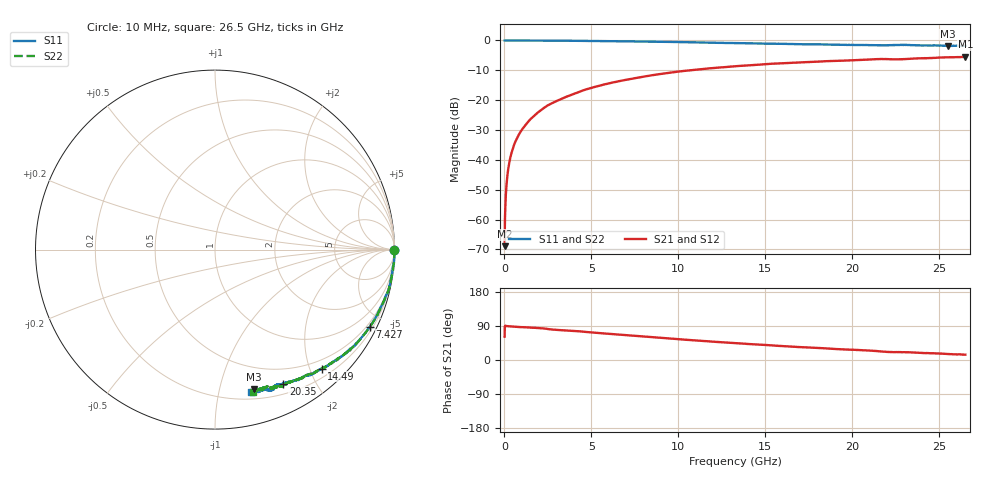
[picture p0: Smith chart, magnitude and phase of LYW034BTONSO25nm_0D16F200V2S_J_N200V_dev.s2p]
!Keysight Technologies,N5222B,MY61253708,A.15.00.15
!Date: Wednesday, June 19, 2024 10:44:11
!Correction: S11(C  2-Port  )
!S21(C  2-Port  )
!S12(C  2-Port  )
!S22(C  2-Port  )
!S2P File: Measurements: S11, S21, S12, S22:
# Hz S  RI  R 50
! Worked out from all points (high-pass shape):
!   2651 points, 10 MHz to 26.5 GHz, reference 50 ohm
!   highest |S21| = -5.47 dB at 26.5 GHz (marker M1); lowest = -68.9 dB at 10 MHz (marker M2)
!   |S21| within 3 dB of the highest: 13.64224 GHz to 13.65733 GHz (15.09 MHz wide, 0.111 % of centre); 13.7 GHz to end of sweep
!   lowest |S11| = -1.9 dB at 25.5 GHz (marker M3), VSWR 9.40, Z = 14.3 - j63.9 ohm
!   |S11| at or under -10 dB: nowhere
!   |S22| runs from -1.8 to 0.0 dB; largest |S21 - S12| = 0.0074
!   S11 on the Smith chart (normalised r, x): 10 MHz: open; 7.427 GHz: 0.35, -4.20; 14.49 GHz: 0.34, -2.20; 20.35 GHz: 0.32, -1.59; 26.5 GHz: 0.26, -1.25
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1e7  0.9983 -0.00311  0.000171 0.000316  -5.88e-05 0.000193  0.9982 -0.00183
7.997358e7  0.9999 -0.00563  -1.36e-05 0.00257  6.39e-06 0.00256  0.9994 -0.00523
1.499472e8  1 -0.0106  4.56e-05 0.00484  3.54e-05 0.00482  0.9996 -0.01
1.899321e8  1 -0.0124  7.67e-05 0.00612  7.9e-05 0.00614  0.9998 -0.0117
2.399132e8  0.9996 -0.0161  0.000122 0.00774  0.000115 0.00776  0.9993 -0.0153
3.398755e8  0.9996 -0.0224  0.000241 0.011  0.00025 0.011  0.9995 -0.0215
4.598302e8  0.9986 -0.0308  0.000419 0.0148  0.000401 0.0148  0.9986 -0.0299
6.197698e8  0.9989 -0.04  0.000791 0.02  0.000811 0.0199  0.9988 -0.0397
8.096981e8  0.9981 -0.0528  0.00135 0.0259  0.0013 0.026  0.9977 -0.0518
1.449457e9  0.9911 -0.095  0.00322 0.0466  0.00326 0.0466  0.9934 -0.0917
2.329125e9  0.9825 -0.1483  0.00936 0.0757  0.00947 0.0758  0.9839 -0.1487
3.218789e9  0.9726 -0.2037  0.0201 0.1017  0.0201 0.1019  0.9729 -0.2029
4.428332e9  0.9454 -0.2748  0.0364 0.1382  0.0366 0.1384  0.9471 -0.2721
7.4272e9  0.8617 -0.4313  0.1013 0.2083  0.1022 0.2083  0.863 -0.43
8.846664e9  0.8117 -0.4946  0.1392 0.2328  0.1399 0.2329  0.813 -0.4937
1.3255e10  0.641 -0.6368  0.2634 0.2594  0.2647 0.2588  0.6439 -0.6363
1.449453e10  0.5947 -0.6635  0.2949 0.2562  0.2963 0.2556  0.5975 -0.6609
1.767333e10  0.4717 -0.7201  0.369 0.2349  0.3713 0.2331  0.4807 -0.718
2.035232e10  0.3816 -0.7468  0.4221 0.2077  0.4233 0.2057  0.3948 -0.747
2.209166e10  0.3372 -0.7573  0.4529 0.1754  0.4536 0.1729  0.3293 -0.7632
2.550038e10  0.2174 -0.778  0.5031 0.1404  0.5037 0.1406  0.2365 -0.78
2.65e10  0.1979 -0.793  0.5167 0.1297  0.5153 0.1262  0.2099 -0.7909
